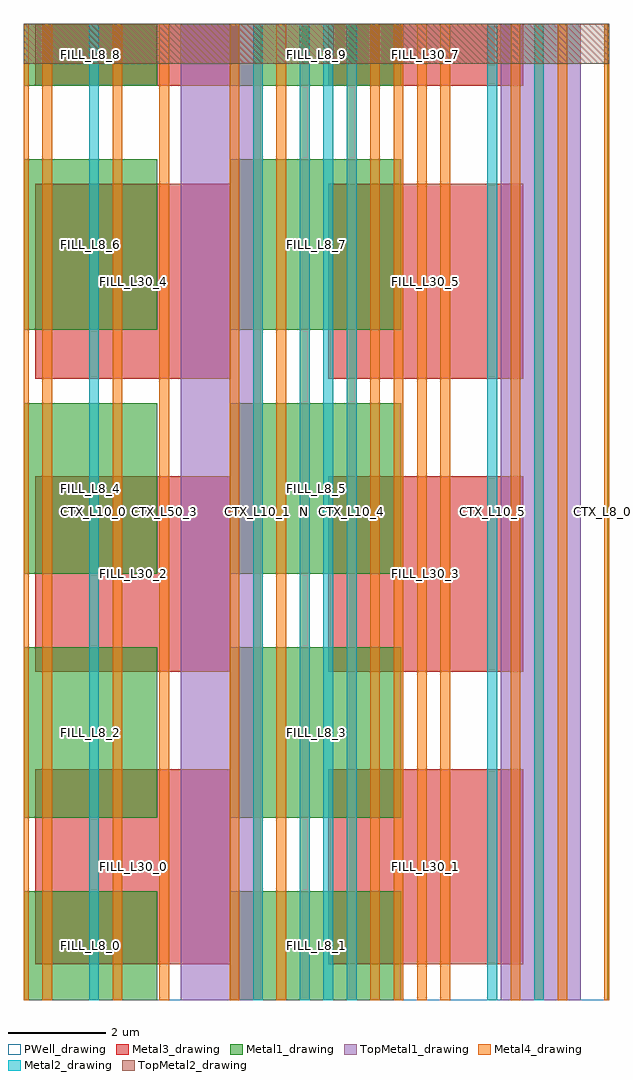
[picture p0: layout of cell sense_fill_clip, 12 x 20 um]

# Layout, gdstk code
import gdstk
lib = gdstk.Library(unit=1e-6, precision=1e-09)
def R(c, l, rs):  # rectangles x0, y0, x1, y1
    for r in rs: c.add(gdstk.rectangle(r[:2], r[2:], *l))
def A(c, l, x, y, w, h, nx, ny, dx, dy):  # array of equal rectangles
    R(c, l, [(x+i*dx, y+j*dy, x+i*dx+w, y+j*dy+h) for i in range(nx) for j in range(ny)])
Metal1_drawing = (8, 0)
Metal2_drawing = (10, 0)
Metal3_drawing = (30, 0)
PWell_drawing = (46, 0)
Metal4_drawing = (50, 0)
TopMetal1_drawing = (126, 0)
TopMetal2_drawing = (134, 0)

sense_fill_clip = lib.new_cell('sense_fill_clip')
A(sense_fill_clip, Metal1_drawing, 725.76, 705, 2.74, 3.5, 1, 3, 0, 5)
A(sense_fill_clip, Metal1_drawing, 730, 705, 3.5, 3.5, 1, 3, 0, 5)
R(sense_fill_clip, Metal1_drawing, [(725.76,701.27,728.5,703.5), (730,701.27,733.5,703.5), (737.72,701.27,737.76,721.27), (725.76,720,728.5,721.27), (730,720,733.5,721.27)])
A(sense_fill_clip, Metal2_drawing, 731.42, 701.27, 0.2, 20, 3, 1, 0.48, 0)
R(sense_fill_clip, Metal2_drawing, [(727.1,701.27,727.3,721.27), (730.46,701.27,730.66,721.27), (735.26,701.27,735.46,721.27), (736.22,701.27,736.42,721.27)])
A(sense_fill_clip, Metal3_drawing, 726, 702, 4, 4, 1, 3, 0, 6)
A(sense_fill_clip, Metal3_drawing, 732, 702, 4, 4, 1, 3, 0, 6)
R(sense_fill_clip, Metal3_drawing, [(726,720,730,721.27), (732,720,736,721.27)])
R(sense_fill_clip, PWell_drawing, [(725.76,701.27,737.76,721.27), (725.76,701.27,737.76,721.27)])
A(sense_fill_clip, Metal4_drawing, 729.98, 701.27, 0.2, 20, 4, 1, 0.48, 0)
A(sense_fill_clip, Metal4_drawing, 732.38, 701.27, 0.2, 20, 5, 1, 0.48, 0)
A(sense_fill_clip, Metal4_drawing, 735.74, 701.27, 0.2, 20, 3, 1, 0.48, 0)
R(sense_fill_clip, Metal4_drawing, [(725.76,701.27,725.86,721.27), (726.14,701.27,726.34,721.27), (727.58,701.27,727.78,721.27), (728.54,701.27,728.74,721.27), (737.66,701.27,737.76,721.27)])
R(sense_fill_clip, TopMetal1_drawing, [(728.98,701.27,730.62,721.27), (735.54,701.27,737.18,721.27)])
R(sense_fill_clip, TopMetal2_drawing, [(725.76,720.46,737.76,721.27)])
sense_fill_clip.add(gdstk.Label('FILL_L8_7', (731.75,716.75), layer=8, texttype=25))
sense_fill_clip.add(gdstk.Label('FILL_L8_8', (727.13,720.635), layer=8, texttype=25))
sense_fill_clip.add(gdstk.Label('FILL_L8_4', (727.13,711.75), layer=8, texttype=25))
sense_fill_clip.add(gdstk.Label('FILL_L8_9', (731.75,720.635), layer=8, texttype=25))
sense_fill_clip.add(gdstk.Label('FILL_L8_6', (727.13,716.75), layer=8, texttype=25))
sense_fill_clip.add(gdstk.Label('FILL_L8_5', (731.75,711.75), layer=8, texttype=25))
sense_fill_clip.add(gdstk.Label('FILL_L8_1', (731.75,702.385), layer=8, texttype=25))
sense_fill_clip.add(gdstk.Label('FILL_L8_3', (731.75,706.75), layer=8, texttype=25))
sense_fill_clip.add(gdstk.Label('CTX_L8_0', (737.74,711.27), layer=8, texttype=25))
sense_fill_clip.add(gdstk.Label('FILL_L8_0', (727.13,702.385), layer=8, texttype=25))
sense_fill_clip.add(gdstk.Label('FILL_L8_2', (727.13,706.75), layer=8, texttype=25))
sense_fill_clip.add(gdstk.Label('CTX_L10_5', (735.36,711.27), layer=10, texttype=25))
sense_fill_clip.add(gdstk.Label('CTX_L10_4', (732.48,711.27), layer=10, texttype=25))
sense_fill_clip.add(gdstk.Label('P', (732,711.27), layer=10, texttype=25))
sense_fill_clip.add(gdstk.Label('N', (731.52,711.27), layer=10, texttype=25))
sense_fill_clip.add(gdstk.Label('CTX_L10_1', (730.56,711.27), layer=10, texttype=25))
sense_fill_clip.add(gdstk.Label('CTX_L10_6', (736.32,711.27), layer=10, texttype=25))
sense_fill_clip.add(gdstk.Label('CTX_L10_0', (727.2,711.27), layer=10, texttype=25))
sense_fill_clip.add(gdstk.Label('FILL_L30_5', (734,716), layer=30, texttype=25))
sense_fill_clip.add(gdstk.Label('FILL_L30_7', (734,720.635), layer=30, texttype=25))
sense_fill_clip.add(gdstk.Label('FILL_L30_6', (728,720.635), layer=30, texttype=25))
sense_fill_clip.add(gdstk.Label('FILL_L30_4', (728,716), layer=30, texttype=25))
sense_fill_clip.add(gdstk.Label('FILL_L30_3', (734,710), layer=30, texttype=25))
sense_fill_clip.add(gdstk.Label('FILL_L30_1', (734,704), layer=30, texttype=25))
sense_fill_clip.add(gdstk.Label('FILL_L30_0', (728,704), layer=30, texttype=25))
sense_fill_clip.add(gdstk.Label('FILL_L30_2', (728,710), layer=30, texttype=25))
sense_fill_clip.add(gdstk.Label('CTX_L50_16', (737.71,711.27), layer=50, texttype=25))
sense_fill_clip.add(gdstk.Label('CTX_L50_15', (736.8,711.27), layer=50, texttype=25))
sense_fill_clip.add(gdstk.Label('CTX_L50_14', (736.32,711.27), layer=50, texttype=25))
sense_fill_clip.add(gdstk.Label('CTX_L50_13', (735.84,711.27), layer=50, texttype=25))
sense_fill_clip.add(gdstk.Label('CTX_L50_10', (733.44,711.27), layer=50, texttype=25))
sense_fill_clip.add(gdstk.Label('CTX_L50_0', (725.81,711.27), layer=50, texttype=25))
sense_fill_clip.add(gdstk.Label('CTX_L50_1', (726.24,711.27), layer=50, texttype=25))
sense_fill_clip.add(gdstk.Label('CTX_L50_2', (727.68,711.27), layer=50, texttype=25))
sense_fill_clip.add(gdstk.Label('CTX_L50_3', (728.64,711.27), layer=50, texttype=25))
sense_fill_clip.add(gdstk.Label('CTX_L50_6', (731.04,711.27), layer=50, texttype=25))
sense_fill_clip.add(gdstk.Label('CTX_L50_4', (730.08,711.27), layer=50, texttype=25))
sense_fill_clip.add(gdstk.Label('CTX_L50_8', (732.48,711.27), layer=50, texttype=25))
sense_fill_clip.add(gdstk.Label('CTX_L50_5', (730.56,711.27), layer=50, texttype=25))
sense_fill_clip.add(gdstk.Label('CTX_L50_7', (731.52,711.27), layer=50, texttype=25))
sense_fill_clip.add(gdstk.Label('CTX_L50_9', (732.96,711.27), layer=50, texttype=25))
sense_fill_clip.add(gdstk.Label('CTX_L50_11', (733.92,711.27), layer=50, texttype=25))
sense_fill_clip.add(gdstk.Label('CTX_L50_12', (734.4,711.27), layer=50, texttype=25))
sense_fill_clip.add(gdstk.Label('FILL_L67_5', (734,716), layer=67, texttype=25))
sense_fill_clip.add(gdstk.Label('FILL_L67_7', (734,720.635), layer=67, texttype=25))
sense_fill_clip.add(gdstk.Label('FILL_L67_4', (728,716), layer=67, texttype=25))
sense_fill_clip.add(gdstk.Label('FILL_L67_6', (728,720.635), layer=67, texttype=25))
sense_fill_clip.add(gdstk.Label('FILL_L67_1', (734,704), layer=67, texttype=25))
sense_fill_clip.add(gdstk.Label('FILL_L67_3', (734,710), layer=67, texttype=25))
sense_fill_clip.add(gdstk.Label('FILL_L67_0', (728,704), layer=67, texttype=25))
sense_fill_clip.add(gdstk.Label('FILL_L67_2', (728,710), layer=67, texttype=25))
sense_fill_clip.add(gdstk.Label('CTX_L126_1', (736.36,711.27), layer=126, texttype=25))
sense_fill_clip.add(gdstk.Label('CTX_L126_0', (729.8,711.27), layer=126, texttype=25))
sense_fill_clip.add(gdstk.Label('CTX_L134_0', (731.76,720.865), layer=134, texttype=25))

lib.write_gds('sense_fill_clip.gds')
